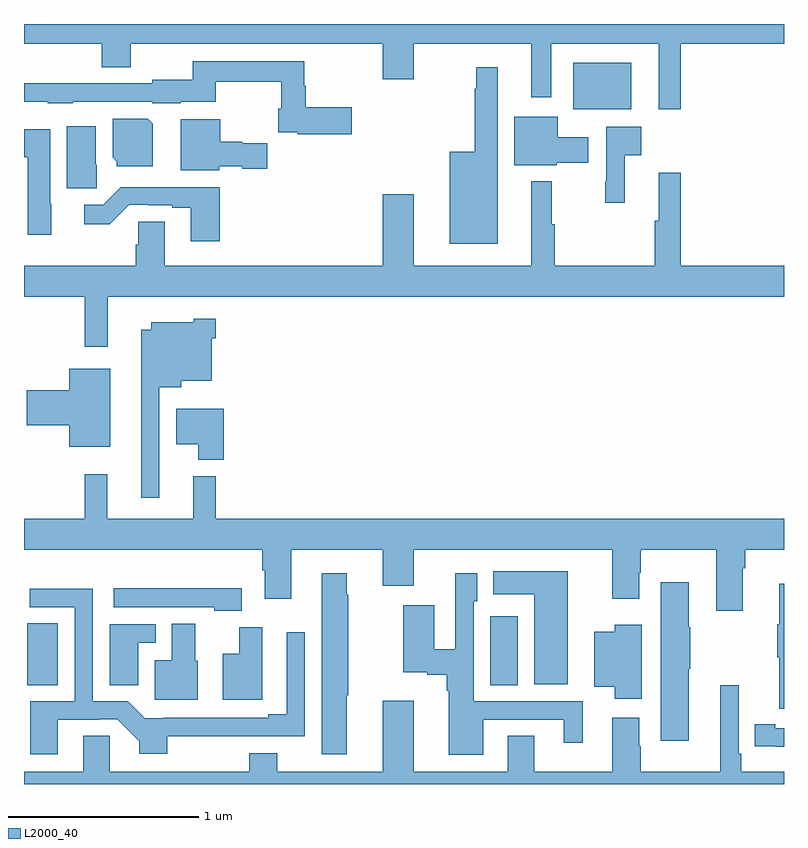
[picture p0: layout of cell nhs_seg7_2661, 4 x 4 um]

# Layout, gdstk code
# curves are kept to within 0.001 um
import gdstk
lib = gdstk.Library(unit=1e-6, precision=1e-09)
def R(c, l, rs):  # rectangles x0, y0, x1, y1
    for r in rs: c.add(gdstk.rectangle(r[:2], r[2:], *l))
def P(c, l, *ps):  # polygons
    for p in ps: c.add(gdstk.Polygon(p, *l))
L2000_40 = (2000, 40)

nhs_seg7_2661 = lib.new_cell('nhs_seg7_2661')
R(nhs_seg7_2661, L2000_40, [(283.016,1050.52,283.177,1050.845), (285.455,1050.52,285.598,1050.883), (285.89,1053.551,286.195,1053.796)])
P(nhs_seg7_2661, L2000_40, [(286.457,1053.896),(287,1053.896),(287,1054),(283,1054),(283,1053.896),(283.408,1053.896),(283.408,1053.772),(283.563,1053.772),(283.563,1053.896),(284.888,1053.896),(284.888,1053.708),(285.052,1053.708),(285.052,1053.896),(285.671,1053.896),(285.671,1053.615),(285.775,1053.615),(285.775,1053.896),(286.34,1053.896),(286.34,1053.552),(286.457,1053.552)],
  [(284.725,1053.561),(284.483,1053.561),(284.483,1053.675),(284.476,1053.675),(284.476,1053.804),(283.887,1053.804),(283.887,1053.706),(283.674,1053.706),(283.674,1053.687),(283.257,1053.687),(283.257,1053.689),(283.025,1053.689),(283.025,1053.687),(283,1053.687),(283,1053.59),(283.125,1053.59),(283.125,1053.584),(283.257,1053.584),(283.257,1053.591),(283.674,1053.591),(283.674,1053.584),(283.824,1053.584),(283.824,1053.59),(284.008,1053.59),(284.008,1053.696),(284.355,1053.696),(284.355,1053.553),(284.337,1053.553),(284.337,1053.43),(284.44,1053.43),(284.44,1053.419),(284.725,1053.419)],
  [(285.493,1053.772),(285.379,1053.772),(285.379,1053.659),(285.372,1053.659),(285.372,1053.328),(285.242,1053.328),(285.242,1052.843),(285.493,1052.843)],
  [(285.804,1053.269),(285.97,1053.269),(285.97,1053.403),(285.808,1053.403),(285.808,1053.511),(285.581,1053.511),(285.581,1053.257),(285.804,1053.257)],
  [(283.678,1053.476),(283.652,1053.502),(283.466,1053.502),(283.466,1053.298),(283.488,1053.276),(283.488,1053.251),(283.678,1053.251)],
  [(284.028,1053.251),(284.148,1053.251),(284.148,1053.239),(284.279,1053.239),(284.279,1053.373),(284.148,1053.373),(284.148,1053.381),(284.032,1053.381),(284.032,1053.5),(283.826,1053.5),(283.826,1053.23),(284.028,1053.23)],
  [(283.382,1053.258),(283.378,1053.258),(283.378,1053.463),(283.226,1053.463),(283.226,1053.135),(283.382,1053.135)],
  [(286.163,1053.308),(286.249,1053.308),(286.249,1053.46),(286.065,1053.46),(286.065,1053.172),(286.06,1053.172),(286.06,1053.06),(286.163,1053.06)],
  [(283.144,1053.054),(283.138,1053.054),(283.138,1053.445),(283.001,1053.445),(283.001,1053.3),(283.019,1053.3),(283.019,1052.892),(283.144,1052.892)],
  [(283.44,1052.564),(287,1052.564),(287,1052.728),(286.457,1052.728),(286.457,1053.217),(286.34,1053.217),(286.34,1052.964),(286.321,1052.964),(286.321,1052.728),(285.793,1052.728),(285.793,1052.945),(285.778,1052.945),(285.778,1053.172),(285.671,1053.172),(285.671,1052.728),(285.052,1052.728),(285.052,1053.103),(284.888,1053.103),(284.888,1052.728),(283.741,1052.728),(283.741,1052.96),(283.602,1052.96),(283.602,1052.838),(283.589,1052.838),(283.589,1052.728),(283,1052.728),(283,1052.564),(283.321,1052.564),(283.321,1052.301),(283.44,1052.301)],
  [(284.03,1053.142),(283.51,1053.142),(283.416,1053.048),(283.317,1053.048),(283.317,1052.946),(283.452,1052.946),(283.554,1053.048),(283.654,1053.048),(283.654,1053.045),(283.781,1053.045),(283.781,1053.033),(283.877,1053.033),(283.877,1052.856),(284.03,1052.856)],
  [(283.713,1052.087),(283.828,1052.087),(283.828,1052.123),(283.987,1052.123),(283.987,1052.345),(284.009,1052.345),(284.009,1052.449),(283.893,1052.449),(283.893,1052.431),(283.67,1052.431),(283.67,1052.392),(283.616,1052.392),(283.616,1051.506),(283.713,1051.506)],
  [(283.453,1052.185),(283.238,1052.185),(283.238,1052.072),(283.014,1052.072),(283.014,1051.889),(283.238,1051.889),(283.238,1051.775),(283.453,1051.775)],
  [(284.051,1051.975),(283.802,1051.975),(283.802,1051.787),(283.916,1051.787),(283.916,1051.706),(284.051,1051.706)],
  [(286.783,1051.136),(286.796,1051.136),(286.796,1051.232),(287,1051.232),(287,1051.396),(284.009,1051.396),(284.009,1051.621),(283.892,1051.621),(283.892,1051.396),(283.439,1051.396),(283.439,1051.63),(283.321,1051.63),(283.321,1051.396),(283,1051.396),(283,1051.232),(284.255,1051.232),(284.255,1051.126),(284.267,1051.126),(284.267,1050.975),(284.407,1050.975),(284.407,1051.232),(284.888,1051.232),(284.888,1051.044),(285.052,1051.044),(285.052,1051.232),(286.097,1051.232),(286.097,1050.975),(286.237,1050.975),(286.237,1051.112),(286.245,1051.112),(286.245,1051.232),(286.643,1051.232),(286.643,1050.912),(286.783,1050.912)],
  [(285.862,1051.12),(285.47,1051.12),(285.47,1050.998),(285.686,1050.998),(285.686,1050.524),(285.862,1050.524)],
  [(284.698,1050.468),(284.706,1050.468),(284.706,1050.995),(284.698,1050.995),(284.698,1051.108),(284.567,1051.108),(284.567,1050.156),(284.698,1050.156)],
  [(285.418,1050.339),(285.842,1050.339),(285.842,1050.216),(285.94,1050.216),(285.94,1050.435),(285.366,1050.435),(285.366,1050.963),(285.385,1050.963),(285.385,1051.108),(285.27,1051.108),(285.27,1050.71),(285.16,1050.71),(285.16,1050.94),(284.995,1050.94),(284.995,1050.587),(285.123,1050.587),(285.123,1050.575),(285.224,1050.575),(285.224,1050.491),(285.236,1050.491),(285.236,1050.155),(285.418,1050.155)],
  [(286.498,1050.607),(286.506,1050.607),(286.506,1050.824),(286.498,1050.824),(286.498,1051.063),(286.352,1051.063),(286.352,1050.228),(286.498,1050.228)],
  [(287,1051.054),(286.976,1051.054),(286.976,1050.841),(286.965,1050.841),(286.965,1050.667),(286.976,1050.667),(286.976,1050.396),(287,1050.396)],
  [(284.146,1051.03),(283.473,1051.03),(283.473,1050.929),(284.001,1050.929),(284.001,1050.911),(284.146,1050.911)],
  [(283.177,1050.339),(283.397,1050.339),(283.397,1050.342),(283.491,1050.342),(283.607,1050.226),(283.607,1050.158),(283.755,1050.158),(283.755,1050.251),(284.478,1050.252),(284.478,1050.799),(284.382,1050.799),(284.382,1050.368),(284.285,1050.368),(284.285,1050.348),(283.732,1050.348),(283.732,1050.345),(283.636,1050.345),(283.546,1050.435),(283.362,1050.435),(283.362,1051.028),(283.029,1051.028),(283.029,1050.93),(283.266,1050.93),(283.266,1050.435),(283.034,1050.435),(283.034,1050.156),(283.177,1050.156)],
  [(283.915,1050.648),(283.9,1050.648),(283.9,1050.844),(283.778,1050.844),(283.778,1050.652),(283.688,1050.652),(283.688,1050.443),(283.915,1050.443)],
  [(283.6,1050.744),(283.693,1050.744),(283.693,1050.84),(283.451,1050.84),(283.451,1050.52),(283.6,1050.52)],
  [(286.252,1050.838),(286.109,1050.838),(286.109,1050.802),(286.001,1050.802),(286.001,1050.512),(286.109,1050.512),(286.109,1050.45),(286.252,1050.45)],
  [(284.254,1050.826),(284.132,1050.826),(284.132,1050.685),(284.045,1050.685),(284.045,1050.443),(284.254,1050.443)],
  [(287,1050.064),(286.775,1050.064),(286.775,1050.16),(286.761,1050.16),(286.761,1050.52),(286.664,1050.52),(286.664,1050.064),(286.245,1050.064),(286.245,1050.198),(286.237,1050.198),(286.237,1050.349),(286.097,1050.349),(286.097,1050.064),(285.685,1050.064),(285.685,1050.254),(285.545,1050.254),(285.545,1050.064),(285.052,1050.064),(285.052,1050.439),(284.888,1050.439),(284.888,1050.064),(284.332,1050.064),(284.332,1050.163),(284.185,1050.163),(284.185,1050.064),(283.452,1050.064),(283.452,1050.254),(283.313,1050.254),(283.313,1050.064),(283,1050.064),(283,1050),(287,1050)],
  [(287,1050.294),(286.954,1050.294),(286.954,1050.314),(286.846,1050.314),(286.846,1050.198),(286.954,1050.198),(286.954,1050.197),(287,1050.197)])

lib.write_gds('nhs_seg7_2661.gds')
